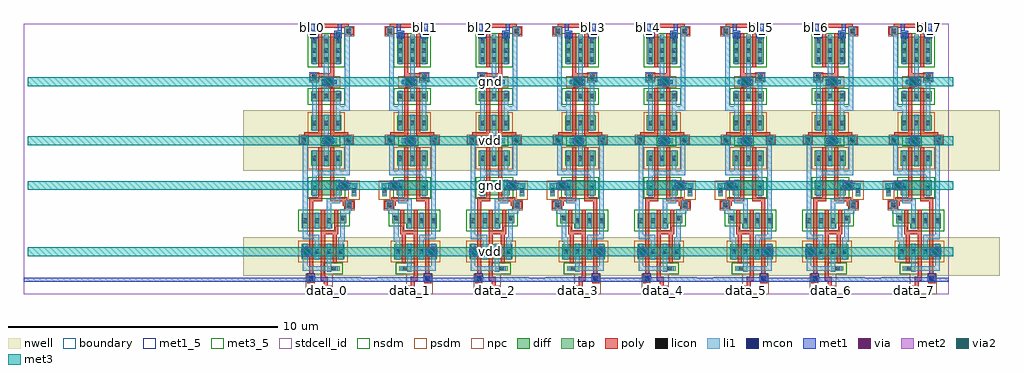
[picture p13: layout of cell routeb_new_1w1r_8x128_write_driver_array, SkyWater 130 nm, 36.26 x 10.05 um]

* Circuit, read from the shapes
.subckt routeb_new_1w1r_8x128_write_driver_array bl_0 bl_1 bl_2 bl_3 bl_4 bl_5 bl_6 bl_7 br_0 br_1 br_2 br_3 br_4 br_5 br_6 br_7 data_0 data_1 data_2 data_3 data_4 data_5 data_6 data_7 en gnd vdd
XM1 n1 en n2 gnd sky130_fd_pr__nfet_01v8 w=0.55 l=0.15
XM2 n3 en n4 gnd sky130_fd_pr__nfet_01v8 w=0.55 l=0.15
XM3 gnd n2 n5 gnd sky130_fd_pr__nfet_01v8 w=0.36 l=0.15
XM4 gnd n6 bl_0 gnd sky130_fd_pr__nfet_01v8 w=1 l=0.15
XM5 gnd data_0 n1 gnd sky130_fd_pr__nfet_01v8 w=0.55 l=0.15
XM6 gnd n7 n3 gnd sky130_fd_pr__nfet_01v8 w=0.55 l=0.15
XM7 n6 n4 gnd gnd sky130_fd_pr__nfet_01v8 w=0.36 l=0.15
XM8 br_0 n5 gnd gnd sky130_fd_pr__nfet_01v8 w=1 l=0.15
XM9 n7 data_0 gnd gnd sky130_fd_pr__nfet_01v8 w=0.36 l=0.15
XM10 gnd data_1 n8 gnd sky130_fd_pr__nfet_01v8 w=0.36 l=0.15
XM11 n9 n8 gnd gnd sky130_fd_pr__nfet_01v8 w=0.55 l=0.15
XM12 gnd n10 n11 gnd sky130_fd_pr__nfet_01v8 w=0.36 l=0.15
XM13 gnd n12 br_1 gnd sky130_fd_pr__nfet_01v8 w=1 l=0.15
XM14 n13 data_1 gnd gnd sky130_fd_pr__nfet_01v8 w=0.55 l=0.15
XM15 n10 en n9 gnd sky130_fd_pr__nfet_01v8 w=0.55 l=0.15
XM16 n12 n14 gnd gnd sky130_fd_pr__nfet_01v8 w=0.36 l=0.15
XM17 bl_1 n11 gnd gnd sky130_fd_pr__nfet_01v8 w=1 l=0.15
XM18 n14 en n13 gnd sky130_fd_pr__nfet_01v8 w=0.55 l=0.15
XM19 n15 en n16 gnd sky130_fd_pr__nfet_01v8 w=0.55 l=0.15
XM20 n17 en n18 gnd sky130_fd_pr__nfet_01v8 w=0.55 l=0.15
XM21 gnd n16 n19 gnd sky130_fd_pr__nfet_01v8 w=0.36 l=0.15
XM22 gnd n20 bl_2 gnd sky130_fd_pr__nfet_01v8 w=1 l=0.15
XM23 gnd data_2 n15 gnd sky130_fd_pr__nfet_01v8 w=0.55 l=0.15
XM24 gnd n21 n17 gnd sky130_fd_pr__nfet_01v8 w=0.55 l=0.15
XM25 n20 n18 gnd gnd sky130_fd_pr__nfet_01v8 w=0.36 l=0.15
XM26 br_2 n19 gnd gnd sky130_fd_pr__nfet_01v8 w=1 l=0.15
XM27 n21 data_2 gnd gnd sky130_fd_pr__nfet_01v8 w=0.36 l=0.15
XM28 gnd data_3 n22 gnd sky130_fd_pr__nfet_01v8 w=0.36 l=0.15
XM29 n23 n22 gnd gnd sky130_fd_pr__nfet_01v8 w=0.55 l=0.15
XM30 gnd n24 n25 gnd sky130_fd_pr__nfet_01v8 w=0.36 l=0.15
XM31 gnd n26 br_3 gnd sky130_fd_pr__nfet_01v8 w=1 l=0.15
XM32 n27 data_3 gnd gnd sky130_fd_pr__nfet_01v8 w=0.55 l=0.15
XM33 n24 en n23 gnd sky130_fd_pr__nfet_01v8 w=0.55 l=0.15
XM34 n26 n28 gnd gnd sky130_fd_pr__nfet_01v8 w=0.36 l=0.15
XM35 bl_3 n25 gnd gnd sky130_fd_pr__nfet_01v8 w=1 l=0.15
XM36 n28 en n27 gnd sky130_fd_pr__nfet_01v8 w=0.55 l=0.15
XM37 n29 en n30 gnd sky130_fd_pr__nfet_01v8 w=0.55 l=0.15
XM38 n31 en n32 gnd sky130_fd_pr__nfet_01v8 w=0.55 l=0.15
XM39 gnd n30 n33 gnd sky130_fd_pr__nfet_01v8 w=0.36 l=0.15
XM40 gnd n34 bl_4 gnd sky130_fd_pr__nfet_01v8 w=1 l=0.15
XM41 gnd data_4 n29 gnd sky130_fd_pr__nfet_01v8 w=0.55 l=0.15
XM42 gnd n35 n31 gnd sky130_fd_pr__nfet_01v8 w=0.55 l=0.15
XM43 n34 n32 gnd gnd sky130_fd_pr__nfet_01v8 w=0.36 l=0.15
XM44 br_4 n33 gnd gnd sky130_fd_pr__nfet_01v8 w=1 l=0.15
XM45 n35 data_4 gnd gnd sky130_fd_pr__nfet_01v8 w=0.36 l=0.15
XM46 gnd data_5 n36 gnd sky130_fd_pr__nfet_01v8 w=0.36 l=0.15
XM47 n37 n36 gnd gnd sky130_fd_pr__nfet_01v8 w=0.55 l=0.15
XM48 gnd n38 n39 gnd sky130_fd_pr__nfet_01v8 w=0.36 l=0.15
XM49 gnd n40 br_5 gnd sky130_fd_pr__nfet_01v8 w=1 l=0.15
XM50 n41 data_5 gnd gnd sky130_fd_pr__nfet_01v8 w=0.55 l=0.15
XM51 n38 en n37 gnd sky130_fd_pr__nfet_01v8 w=0.55 l=0.15
XM52 n40 n42 gnd gnd sky130_fd_pr__nfet_01v8 w=0.36 l=0.15
XM53 bl_5 n39 gnd gnd sky130_fd_pr__nfet_01v8 w=1 l=0.15
XM54 n42 en n41 gnd sky130_fd_pr__nfet_01v8 w=0.55 l=0.15
XM55 n43 en n44 gnd sky130_fd_pr__nfet_01v8 w=0.55 l=0.15
XM56 n45 en n46 gnd sky130_fd_pr__nfet_01v8 w=0.55 l=0.15
XM57 gnd n44 n47 gnd sky130_fd_pr__nfet_01v8 w=0.36 l=0.15
XM58 gnd n48 bl_6 gnd sky130_fd_pr__nfet_01v8 w=1 l=0.15
XM59 gnd data_6 n43 gnd sky130_fd_pr__nfet_01v8 w=0.55 l=0.15
XM60 gnd n49 n45 gnd sky130_fd_pr__nfet_01v8 w=0.55 l=0.15
XM61 n48 n46 gnd gnd sky130_fd_pr__nfet_01v8 w=0.36 l=0.15
XM62 br_6 n47 gnd gnd sky130_fd_pr__nfet_01v8 w=1 l=0.15
XM63 n49 data_6 gnd gnd sky130_fd_pr__nfet_01v8 w=0.36 l=0.15
XM64 gnd data_7 n50 gnd sky130_fd_pr__nfet_01v8 w=0.36 l=0.15
XM65 n51 n50 gnd gnd sky130_fd_pr__nfet_01v8 w=0.55 l=0.15
XM66 gnd n52 n53 gnd sky130_fd_pr__nfet_01v8 w=0.36 l=0.15
XM67 gnd n54 br_7 gnd sky130_fd_pr__nfet_01v8 w=1 l=0.15
XM68 n55 data_7 gnd gnd sky130_fd_pr__nfet_01v8 w=0.55 l=0.15
XM69 n52 en n51 gnd sky130_fd_pr__nfet_01v8 w=0.55 l=0.15
XM70 n54 n56 gnd gnd sky130_fd_pr__nfet_01v8 w=0.36 l=0.15
XM71 bl_7 n53 gnd gnd sky130_fd_pr__nfet_01v8 w=1 l=0.15
XM72 n56 en n55 gnd sky130_fd_pr__nfet_01v8 w=0.55 l=0.15
XM73 n2 en vdd vdd sky130_fd_pr__pfet_01v8 w=0.55 l=0.15
XM74 vdd en n4 vdd sky130_fd_pr__pfet_01v8 w=0.55 l=0.15
XM75 vdd n2 n5 vdd sky130_fd_pr__pfet_01v8 w=0.55 l=0.15
XM76 vdd data_0 n2 vdd sky130_fd_pr__pfet_01v8 w=0.55 l=0.15
XM77 n4 n7 vdd vdd sky130_fd_pr__pfet_01v8 w=0.55 l=0.15
XM78 n6 n4 vdd vdd sky130_fd_pr__pfet_01v8 w=0.55 l=0.15
XM79 n7 data_0 vdd vdd sky130_fd_pr__pfet_01v8 w=0.55 l=0.15
XM80 vdd data_1 n8 vdd sky130_fd_pr__pfet_01v8 w=0.55 l=0.15
XM81 vdd n8 n10 vdd sky130_fd_pr__pfet_01v8 w=0.55 l=0.15
XM82 vdd n10 n11 vdd sky130_fd_pr__pfet_01v8 w=0.55 l=0.15
XM83 n14 data_1 vdd vdd sky130_fd_pr__pfet_01v8 w=0.55 l=0.15
XM84 n10 en vdd vdd sky130_fd_pr__pfet_01v8 w=0.55 l=0.15
XM85 n12 n14 vdd vdd sky130_fd_pr__pfet_01v8 w=0.55 l=0.15
XM86 vdd en n14 vdd sky130_fd_pr__pfet_01v8 w=0.55 l=0.15
XM87 n16 en vdd vdd sky130_fd_pr__pfet_01v8 w=0.55 l=0.15
XM88 vdd en n18 vdd sky130_fd_pr__pfet_01v8 w=0.55 l=0.15
XM89 vdd n16 n19 vdd sky130_fd_pr__pfet_01v8 w=0.55 l=0.15
XM90 vdd data_2 n16 vdd sky130_fd_pr__pfet_01v8 w=0.55 l=0.15
XM91 n18 n21 vdd vdd sky130_fd_pr__pfet_01v8 w=0.55 l=0.15
XM92 n20 n18 vdd vdd sky130_fd_pr__pfet_01v8 w=0.55 l=0.15
XM93 n21 data_2 vdd vdd sky130_fd_pr__pfet_01v8 w=0.55 l=0.15
XM94 vdd data_3 n22 vdd sky130_fd_pr__pfet_01v8 w=0.55 l=0.15
XM95 vdd n22 n24 vdd sky130_fd_pr__pfet_01v8 w=0.55 l=0.15
XM96 vdd n24 n25 vdd sky130_fd_pr__pfet_01v8 w=0.55 l=0.15
XM97 n28 data_3 vdd vdd sky130_fd_pr__pfet_01v8 w=0.55 l=0.15
XM98 n24 en vdd vdd sky130_fd_pr__pfet_01v8 w=0.55 l=0.15
XM99 n26 n28 vdd vdd sky130_fd_pr__pfet_01v8 w=0.55 l=0.15
XM100 vdd en n28 vdd sky130_fd_pr__pfet_01v8 w=0.55 l=0.15
XM101 n30 en vdd vdd sky130_fd_pr__pfet_01v8 w=0.55 l=0.15
XM102 vdd en n32 vdd sky130_fd_pr__pfet_01v8 w=0.55 l=0.15
XM103 vdd n30 n33 vdd sky130_fd_pr__pfet_01v8 w=0.55 l=0.15
XM104 vdd data_4 n30 vdd sky130_fd_pr__pfet_01v8 w=0.55 l=0.15
XM105 n32 n35 vdd vdd sky130_fd_pr__pfet_01v8 w=0.55 l=0.15
XM106 n34 n32 vdd vdd sky130_fd_pr__pfet_01v8 w=0.55 l=0.15
XM107 n35 data_4 vdd vdd sky130_fd_pr__pfet_01v8 w=0.55 l=0.15
XM108 vdd data_5 n36 vdd sky130_fd_pr__pfet_01v8 w=0.55 l=0.15
XM109 vdd n36 n38 vdd sky130_fd_pr__pfet_01v8 w=0.55 l=0.15
XM110 vdd n38 n39 vdd sky130_fd_pr__pfet_01v8 w=0.55 l=0.15
XM111 n42 data_5 vdd vdd sky130_fd_pr__pfet_01v8 w=0.55 l=0.15
XM112 n38 en vdd vdd sky130_fd_pr__pfet_01v8 w=0.55 l=0.15
XM113 n40 n42 vdd vdd sky130_fd_pr__pfet_01v8 w=0.55 l=0.15
XM114 vdd en n42 vdd sky130_fd_pr__pfet_01v8 w=0.55 l=0.15
XM115 n44 en vdd vdd sky130_fd_pr__pfet_01v8 w=0.55 l=0.15
XM116 vdd en n46 vdd sky130_fd_pr__pfet_01v8 w=0.55 l=0.15
XM117 vdd n44 n47 vdd sky130_fd_pr__pfet_01v8 w=0.55 l=0.15
XM118 vdd data_6 n44 vdd sky130_fd_pr__pfet_01v8 w=0.55 l=0.15
XM119 n46 n49 vdd vdd sky130_fd_pr__pfet_01v8 w=0.55 l=0.15
XM120 n48 n46 vdd vdd sky130_fd_pr__pfet_01v8 w=0.55 l=0.15
XM121 n49 data_6 vdd vdd sky130_fd_pr__pfet_01v8 w=0.55 l=0.15
XM122 vdd data_7 n50 vdd sky130_fd_pr__pfet_01v8 w=0.55 l=0.15
XM123 vdd n50 n52 vdd sky130_fd_pr__pfet_01v8 w=0.55 l=0.15
XM124 vdd n52 n53 vdd sky130_fd_pr__pfet_01v8 w=0.55 l=0.15
XM125 n56 data_7 vdd vdd sky130_fd_pr__pfet_01v8 w=0.55 l=0.15
XM126 n52 en vdd vdd sky130_fd_pr__pfet_01v8 w=0.55 l=0.15
XM127 n54 n56 vdd vdd sky130_fd_pr__pfet_01v8 w=0.55 l=0.15
XM128 vdd en n56 vdd sky130_fd_pr__pfet_01v8 w=0.55 l=0.15
.ends

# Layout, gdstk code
from math import pi, radians
import gdstk
lib = gdstk.Library(unit=1e-6, precision=1e-09)
def R(c, l, rs):  # rectangles x0, y0, x1, y1
    for r in rs: c.add(gdstk.rectangle(r[:2], r[2:], *l))
def A(c, l, x, y, w, h, nx, ny, dx, dy):  # array of equal rectangles
    R(c, l, [(x+i*dx, y+j*dy, x+i*dx+w, y+j*dy+h) for i in range(nx) for j in range(ny)])
nwell = (64, 20)
diff = (65, 20)
tap = (65, 44)
poly = (66, 20)
licon = (66, 44)
li1 = (67, 20)
mcon = (67, 44)
met1_5 = (68, 5)
met1 = (68, 20)
via = (68, 44)
met2 = (69, 20)
via2 = (69, 44)
met3_5 = (70, 5)
met3 = (70, 20)
stdcell_id = (81, 4)
nsdm = (93, 44)
psdm = (94, 20)
npc = (95, 20)
boundary = (235, 4)

sky130_fd_bd_sram__openr = lib.new_cell('sky130_fd_bd_sram__openram_write_driver')
R(sky130_fd_bd_sram__openr, nwell, [(-1.88,0.69,4.4,2.12), (-1.88,4.6,4.4,6.83)])
R(sky130_fd_bd_sram__openr, diff, [(0.305,1.31,1.88,1.86), (0.305,2.46,1.435,2.65), (0.305,2.65,1.955,3.01), (0.645,3.68,1.795,4.23), (0.645,4.78,1.78,5.33), (0.645,6.095,1.775,6.645), (0.645,7.175,1.775,7.535), (0.645,8.565,1.775,9.565)])
R(sky130_fd_bd_sram__openr, tap, [(1.245,0.87,1.705,1.04), (2.155,3.64,2.325,4.1), (1.125,5.62,1.605,5.79), (1.145,7.805,1.605,7.975)])
R(sky130_fd_bd_sram__openr, poly, [(1.115,0.02,1.425,0.32), (1.115,0.32,1.275,0.5), (0.505,0.42,0.775,0.74), (1.015,0.5,1.275,0.65), (1.015,0.65,1.165,2.23), (0.505,0.74,0.725,0.75), (0.575,0.75,0.725,3.45), (1.455,1.18,1.605,2.23), (1.015,2.23,1.665,2.38), (1.015,2.38,1.165,3.14), (1.515,2.38,1.665,3.14), (1.875,3.18,2.245,3.3), (1.825,3.3,2.245,3.45), (0.575,3.45,1.065,3.6), (1.355,3.45,1.995,3.6), (0.915,3.6,1.065,5.46), (1.355,3.6,1.505,5.46), (0.205,5.6,0.54,5.87), (1.885,5.6,2.215,5.72), (1.88,5.72,2.215,5.87), (0.39,5.87,1.065,6.02), (1.355,5.87,2.03,6.02), (0.915,6.02,1.065,7.665), (1.355,6.02,1.505,7.665), (0.605,7.925,0.935,8.055), (0.605,8.055,1.505,8.205), (1.355,8.205,1.505,9.695), (0.915,8.435,1.065,9.905), (1.895,9.645,2.225,9.905), (0.915,9.905,2.225,9.915), (0.915,9.915,2.045,10.055)])
A(sky130_fd_bd_sram__openr, licon, 0.345, 1.5, 0.17, 0.17, 4, 1, 0.44, 0)
A(sky130_fd_bd_sram__openr, licon, 0.345, 2.65, 0.17, 0.17, 3, 1, 0.44, 0)
A(sky130_fd_bd_sram__openr, licon, 0.685, 4.97, 0.17, 0.17, 3, 2, 0.44, 1.315)
A(sky130_fd_bd_sram__openr, licon, 0.685, 7.275, 0.17, 0.17, 3, 2, 0.44, 1.365)
A(sky130_fd_bd_sram__openr, licon, 0.685, 8.98, 0.17, 0.17, 3, 2, 0.44, 0.34)
R(sky130_fd_bd_sram__openr, licon, [(1.175,0.1,1.345,0.27), (0.555,0.5,0.725,0.67), (1.395,0.87,1.565,1.04), (1.725,2.745,1.895,2.915), (1.995,3.23,2.165,3.4), (2.155,3.78,2.325,3.95), (0.685,3.87,0.855,4.04), (1.565,3.87,1.735,4.04), (1.295,5.62,1.465,5.79), (0.285,5.65,0.455,5.82), (1.965,5.65,2.135,5.82), (1.295,7.805,1.465,7.975), (0.685,7.985,0.855,8.155), (1.975,9.695,2.145,9.865)])
R(sky130_fd_bd_sram__openr, li1, [(1.095,0.1,1.425,0.27), (0.47,0.5,0.805,0.67), (1.225,0.84,1.395,0.87), (0.345,0.87,1.645,1.04), (0.345,1.04,0.515,1.88), (1.225,1.04,1.395,1.88), (0.785,1.29,0.955,2.05), (1.665,1.29,1.835,1.95), (1.665,1.95,1.895,2.12), (0.345,2.05,0.955,2.22), (1.725,2.12,1.895,2.89), (0.345,2.22,0.515,5.57), (0.785,2.44,0.955,3.03), (1.225,2.44,1.395,3.4), (1.725,2.89,1.955,2.99), (1.725,2.99,2.105,3.11), (1.725,3.11,2.165,3.16), (1.935,3.16,2.165,3.49), (1.225,3.375,1.735,3.545), (1.565,3.4,1.735,3.95), (0.685,3.65,0.855,4.42), (2.155,3.7,2.325,3.95), (1.565,3.95,2.355,4.12), (1.565,4.12,1.735,4.25), (0.685,4.42,2.075,4.59), (0.685,4.59,0.855,5.35), (1.565,4.59,1.735,5.35), (1.905,4.59,2.075,5.57), (1.125,4.76,1.295,5.62), (0.285,5.57,0.515,5.9), (1.905,5.57,2.135,5.9), (1.125,5.62,1.545,5.79), (1.125,5.79,1.295,6.665), (0.685,6.08,0.855,7.9), (1.565,6.08,1.735,6.825), (1.565,6.825,2.075,6.995), (1.565,6.995,1.735,7.565), (1.905,6.995,2.075,9.615), (1.125,7.165,1.295,7.805), (1.125,7.805,1.545,7.975), (0.585,7.9,0.855,8.235), (1.125,7.975,1.295,9.635), (0.685,8.545,0.855,9.735), (1.565,8.545,1.735,9.735), (1.905,9.615,2.145,9.945)])
R(sky130_fd_bd_sram__openr, mcon, [(1.175,0.1,1.345,0.27), (0.555,0.5,0.725,0.67), (0.345,1.5,0.515,1.67), (1.8,3.95,1.97,4.12), (1.125,5.62,1.295,5.79), (1.125,7.805,1.295,7.975), (0.685,9.565,0.855,9.735), (1.565,9.565,1.735,9.735)])
R(sky130_fd_bd_sram__openr, met1_5, [(1.115,0.02,1.415,0.3), (0.495,0.47,2.5,0.64), (0.285,1.47,0.715,1.7), (1.67,3.945,2.1,4.15), (1.065,5.59,1.495,5.82), (1.065,7.805,1.605,7.975), (0.63,9.795,0.78,10.055), (1.64,9.795,1.79,10.055)])
R(sky130_fd_bd_sram__openr, met1, [(1.115,0.02,1.415,0.3), (1.115,0.02,1.415,0.3), (0.495,0.47,2.5,0.64), (0.495,0.47,2.5,0.64), (0.495,0.64,0.785,0.78), (0.285,1.47,0.715,1.7), (0.285,1.47,0.715,1.7), (1.735,3.92,2.1,3.945), (1.67,3.945,2.1,4.15), (1.67,3.945,2.1,4.15), (1.065,5.59,1.495,5.82), (1.065,5.59,1.495,5.82), (1.065,7.775,1.495,7.805), (1.065,7.805,1.605,7.975), (1.065,7.805,1.605,7.975), (1.065,7.975,1.495,8.005), (0.625,9.505,0.91,9.795), (1.51,9.505,1.795,9.795), (0.63,9.795,0.78,10.055), (0.63,9.795,0.78,10.055), (1.64,9.795,1.79,10.055), (1.64,9.795,1.79,10.055)])
R(sky130_fd_bd_sram__openr, stdcell_id, [(0,0,2.5,10.055)])
R(sky130_fd_bd_sram__openr, nsdm, [(1.12,0.745,1.83,1.165), (0.18,2.335,1.56,2.525), (0.18,2.525,2.08,3.135), (0.52,3.555,1.92,4.355), (1,5.495,1.73,5.915), (0.52,7.05,1.9,7.66), (0.52,8.44,1.9,9.69)])
R(sky130_fd_bd_sram__openr, psdm, [(0.18,1.185,2.005,1.985), (2.03,3.515,2.45,4.225), (0.52,4.655,1.905,5.455), (0.52,5.97,1.9,6.77), (1.02,7.68,1.73,8.1)])
R(sky130_fd_bd_sram__openr, npc, [(0.455,0,1.445,0.77), (1.895,3.13,2.265,3.5), (0.185,5.55,0.555,5.92), (1.865,5.55,2.235,5.92), (0.585,7.885,0.955,8.255), (1.875,9.595,2.245,9.965)])
R(sky130_fd_bd_sram__openr, boundary, [(0,0,2.5,10.055)])
sky130_fd_bd_sram__openr.add(gdstk.Label('DIN', (1.265,0.06), layer=68, texttype=16))
sky130_fd_bd_sram__openr.add(gdstk.Label('VDD', (0.54,1.585), layer=68, texttype=16))
sky130_fd_bd_sram__openr.add(gdstk.Label('BL', (0.7,9.905), layer=68, texttype=16))
sky130_fd_bd_sram__openr.add(gdstk.Label('BR', (1.7,9.865), layer=68, texttype=16))
sky130_fd_bd_sram__openr.add(gdstk.Label('EN', (0.53,0.59), layer=68, texttype=16))
sky130_fd_bd_sram__openr.add(gdstk.Label('GND', (1.965,4.135), layer=68, texttype=16))
sky130_fd_bd_sram__openr.add(gdstk.Label('GND', (1.1,7.885), layer=68, texttype=16))
sky130_fd_bd_sram__openr.add(gdstk.Label('VDD', (1.1,5.7), layer=68, texttype=16))
sky130_fd_bd_sram__openr.add(gdstk.Label('din', (1.265,0.16), layer=68, texttype=5))
sky130_fd_bd_sram__openr.add(gdstk.Label('bl', (0.705,9.925), layer=68, texttype=5))
sky130_fd_bd_sram__openr.add(gdstk.Label('br', (1.715,9.925), layer=68, texttype=5))
sky130_fd_bd_sram__openr.add(gdstk.Label('en', (1.498,0.555), layer=68, texttype=5))
sky130_fd_bd_sram__openr.add(gdstk.Label('vdd', (0.5,1.585), layer=68, texttype=5))
sky130_fd_bd_sram__openr.add(gdstk.Label('vdd', (1.28,5.705), layer=68, texttype=5))
sky130_fd_bd_sram__openr.add(gdstk.Label('gnd', (1.885,4.048), layer=68, texttype=5))
sky130_fd_bd_sram__openr.add(gdstk.Label('gnd', (1.335,7.89), layer=68, texttype=5))

routeb_new_1w1r_8x128_co = lib.new_cell('routeb_new_1w1r_8x128_contact_18')
R(routeb_new_1w1r_8x128_co, met1, [(0,0.03,0.32,0.29)])
R(routeb_new_1w1r_8x128_co, via, [(0.085,0.085,0.235,0.235)])
R(routeb_new_1w1r_8x128_co, met2, [(0.03,0,0.29,0.32)])
R(routeb_new_1w1r_8x128_co, stdcell_id, [(0,0,0.32,0.32)])
R(routeb_new_1w1r_8x128_co, boundary, [(0,0,0.32,0.32)])

c_routeb_new_1w1r_8x128_co = lib.new_cell('routeb_new_1w1r_8x128_contact_21')
R(c_routeb_new_1w1r_8x128_co, met2, [(0.025,0,0.305,0.37)])
R(c_routeb_new_1w1r_8x128_co, via2, [(0.065,0.085,0.265,0.285)])
R(c_routeb_new_1w1r_8x128_co, met3, [(0,0.02,0.33,0.35)])
R(c_routeb_new_1w1r_8x128_co, stdcell_id, [(0,0,0.33,0.37)])
R(c_routeb_new_1w1r_8x128_co, boundary, [(0,0,0.33,0.37)])

routeb_new_1w1r_8x128_wr = lib.new_cell('routeb_new_1w1r_8x128_write_driver_array')
R(routeb_new_1w1r_8x128_wr, met1_5, [(11.15,0.02,11.45,0.3), (14.24,0.02,14.54,0.3), (17.39,0.02,17.69,0.3), (20.48,0.02,20.78,0.3), (23.63,0.02,23.93,0.3), (26.72,0.02,27.02,0.3), (29.87,0.02,30.17,0.3), (32.96,0.02,33.26,0.3), (0,0.47,34.375,0.61), (10.665,9.795,10.815,10.055), (11.675,9.795,11.825,10.055), (13.865,9.795,14.015,10.055), (14.875,9.795,15.025,10.055), (16.905,9.795,17.055,10.055), (17.915,9.795,18.065,10.055), (20.105,9.795,20.255,10.055), (21.115,9.795,21.265,10.055), (23.145,9.795,23.295,10.055), (24.155,9.795,24.305,10.055), (26.345,9.795,26.495,10.055), (27.355,9.795,27.505,10.055), (29.385,9.795,29.535,10.055), (30.395,9.795,30.545,10.055), (32.585,9.795,32.735,10.055), (33.595,9.795,33.745,10.055)])
R(routeb_new_1w1r_8x128_wr, met1, [(11.15,0.02,11.45,0.3), (14.24,0.02,14.54,0.3), (17.39,0.02,17.69,0.3), (20.48,0.02,20.78,0.3), (23.63,0.02,23.93,0.3), (26.72,0.02,27.02,0.3), (29.87,0.02,30.17,0.3), (32.96,0.02,33.26,0.3), (0,0.47,34.375,0.61), (10.375,1.455,10.695,1.715), (14.995,1.455,15.315,1.715), (16.615,1.455,16.935,1.715), (21.235,1.455,21.555,1.715), (22.855,1.455,23.175,1.715), (27.475,1.455,27.795,1.715), (29.095,1.455,29.415,1.715), (33.715,1.455,34.035,1.715), (11.76,3.92,12.08,4.18), (13.61,3.92,13.93,4.18), (18,3.92,18.32,4.18), (19.85,3.92,20.17,4.18), (24.24,3.92,24.56,4.18), (26.09,3.92,26.41,4.18), (30.48,3.92,30.8,4.18), (32.33,3.92,32.65,4.18), (11.155,5.575,11.475,5.835), (14.215,5.575,14.535,5.835), (17.395,5.575,17.715,5.835), (20.455,5.575,20.775,5.835), (23.635,5.575,23.955,5.835), (26.695,5.575,27.015,5.835), (29.875,5.575,30.195,5.835), (32.935,5.575,33.255,5.835), (11.21,7.76,11.53,8.02), (14.16,7.76,14.48,8.02), (17.45,7.76,17.77,8.02), (20.4,7.76,20.72,8.02), (23.69,7.76,24.01,8.02), (26.64,7.76,26.96,8.02), (29.93,7.76,30.25,8.02), (32.88,7.76,33.2,8.02), (10.665,9.795,10.815,10.055), (11.675,9.795,11.825,10.055), (13.865,9.795,14.015,10.055), (14.875,9.795,15.025,10.055), (16.905,9.795,17.055,10.055), (17.915,9.795,18.065,10.055), (20.105,9.795,20.255,10.055), (21.115,9.795,21.265,10.055), (23.145,9.795,23.295,10.055), (24.155,9.795,24.305,10.055), (26.345,9.795,26.495,10.055), (27.355,9.795,27.505,10.055), (29.385,9.795,29.535,10.055), (30.395,9.795,30.545,10.055), (32.585,9.795,32.735,10.055), (33.595,9.795,33.745,10.055)])
R(routeb_new_1w1r_8x128_wr, met2, [(10.395,1.46,10.675,1.705), (15.015,1.46,15.295,1.705), (16.635,1.46,16.915,1.705), (21.255,1.46,21.535,1.705), (22.875,1.46,23.155,1.705), (27.495,1.46,27.775,1.705), (29.115,1.46,29.395,1.705), (33.735,1.46,34.015,1.705), (11.78,3.925,12.06,4.17), (13.63,3.925,13.91,4.17), (18.02,3.925,18.3,4.17), (19.87,3.925,20.15,4.17), (24.26,3.925,24.54,4.17), (26.11,3.925,26.39,4.17), (30.5,3.925,30.78,4.17), (32.35,3.925,32.63,4.17), (11.175,5.58,11.455,5.825), (14.235,5.58,14.515,5.825), (17.415,5.58,17.695,5.825), (20.475,5.58,20.755,5.825), (23.655,5.58,23.935,5.825), (26.715,5.58,26.995,5.825), (29.895,5.58,30.175,5.825), (32.955,5.58,33.235,5.825), (11.23,7.77,11.51,8.015), (14.18,7.77,14.46,8.015), (17.47,7.77,17.75,8.015), (20.42,7.77,20.7,8.015), (23.71,7.77,23.99,8.015), (26.66,7.77,26.94,8.015), (29.95,7.77,30.23,8.015), (32.9,7.77,33.18,8.015)])
R(routeb_new_1w1r_8x128_wr, met3_5, [(0.165,1.42,34.54,1.75), (0.165,3.88,34.54,4.21), (0.165,5.54,34.54,5.87), (0.165,7.725,34.54,8.055)])
R(routeb_new_1w1r_8x128_wr, met3, [(0.165,1.42,34.54,1.75), (0.165,3.88,34.54,4.21), (0.165,5.54,34.54,5.87), (0.165,7.725,34.54,8.055)])
R(routeb_new_1w1r_8x128_wr, stdcell_id, [(0,0,34.375,10.055)])
R(routeb_new_1w1r_8x128_wr, boundary, [(0,0,34.375,10.055)])
routeb_new_1w1r_8x128_wr.add(gdstk.Reference(sky130_fd_bd_sram__openr, (10.035,0)))
routeb_new_1w1r_8x128_wr.add(gdstk.Reference(sky130_fd_bd_sram__openr, (15.655,0), rotation=pi, x_reflection=True))
routeb_new_1w1r_8x128_wr.add(gdstk.Reference(sky130_fd_bd_sram__openr, (16.275,0)))
routeb_new_1w1r_8x128_wr.add(gdstk.Reference(sky130_fd_bd_sram__openr, (21.895,0), rotation=pi, x_reflection=True))
routeb_new_1w1r_8x128_wr.add(gdstk.Reference(sky130_fd_bd_sram__openr, (22.515,0)))
routeb_new_1w1r_8x128_wr.add(gdstk.Reference(sky130_fd_bd_sram__openr, (28.135,0), rotation=pi, x_reflection=True))
routeb_new_1w1r_8x128_wr.add(gdstk.Reference(sky130_fd_bd_sram__openr, (28.755,0)))
routeb_new_1w1r_8x128_wr.add(gdstk.Reference(sky130_fd_bd_sram__openr, (34.375,0), rotation=pi, x_reflection=True))
routeb_new_1w1r_8x128_wr.add(gdstk.Reference(routeb_new_1w1r_8x128_co, (10.375,1.425)))
routeb_new_1w1r_8x128_wr.add(gdstk.Reference(c_routeb_new_1w1r_8x128_co, (10.37,1.4)))
routeb_new_1w1r_8x128_wr.add(gdstk.Reference(routeb_new_1w1r_8x128_co, (14.995,1.425)))
routeb_new_1w1r_8x128_wr.add(gdstk.Reference(c_routeb_new_1w1r_8x128_co, (14.99,1.4)))
routeb_new_1w1r_8x128_wr.add(gdstk.Reference(routeb_new_1w1r_8x128_co, (16.615,1.425)))
routeb_new_1w1r_8x128_wr.add(gdstk.Reference(c_routeb_new_1w1r_8x128_co, (16.61,1.4)))
routeb_new_1w1r_8x128_wr.add(gdstk.Reference(routeb_new_1w1r_8x128_co, (21.235,1.425)))
routeb_new_1w1r_8x128_wr.add(gdstk.Reference(c_routeb_new_1w1r_8x128_co, (21.23,1.4)))
routeb_new_1w1r_8x128_wr.add(gdstk.Reference(routeb_new_1w1r_8x128_co, (22.855,1.425)))
routeb_new_1w1r_8x128_wr.add(gdstk.Reference(c_routeb_new_1w1r_8x128_co, (22.85,1.4)))
routeb_new_1w1r_8x128_wr.add(gdstk.Reference(routeb_new_1w1r_8x128_co, (27.475,1.425)))
routeb_new_1w1r_8x128_wr.add(gdstk.Reference(c_routeb_new_1w1r_8x128_co, (27.47,1.4)))
routeb_new_1w1r_8x128_wr.add(gdstk.Reference(routeb_new_1w1r_8x128_co, (29.095,1.425)))
routeb_new_1w1r_8x128_wr.add(gdstk.Reference(c_routeb_new_1w1r_8x128_co, (29.09,1.4)))
routeb_new_1w1r_8x128_wr.add(gdstk.Reference(routeb_new_1w1r_8x128_co, (33.715,1.425)))
routeb_new_1w1r_8x128_wr.add(gdstk.Reference(c_routeb_new_1w1r_8x128_co, (33.71,1.4)))
routeb_new_1w1r_8x128_wr.add(gdstk.Reference(routeb_new_1w1r_8x128_co, (11.155,5.545)))
routeb_new_1w1r_8x128_wr.add(gdstk.Reference(c_routeb_new_1w1r_8x128_co, (11.15,5.52)))
routeb_new_1w1r_8x128_wr.add(gdstk.Reference(routeb_new_1w1r_8x128_co, (14.215,5.545)))
routeb_new_1w1r_8x128_wr.add(gdstk.Reference(c_routeb_new_1w1r_8x128_co, (14.21,5.52)))
routeb_new_1w1r_8x128_wr.add(gdstk.Reference(routeb_new_1w1r_8x128_co, (17.395,5.545)))
routeb_new_1w1r_8x128_wr.add(gdstk.Reference(c_routeb_new_1w1r_8x128_co, (17.39,5.52)))
routeb_new_1w1r_8x128_wr.add(gdstk.Reference(routeb_new_1w1r_8x128_co, (20.455,5.545)))
routeb_new_1w1r_8x128_wr.add(gdstk.Reference(c_routeb_new_1w1r_8x128_co, (20.45,5.52)))
routeb_new_1w1r_8x128_wr.add(gdstk.Reference(routeb_new_1w1r_8x128_co, (23.635,5.545)))
routeb_new_1w1r_8x128_wr.add(gdstk.Reference(c_routeb_new_1w1r_8x128_co, (23.63,5.52)))
routeb_new_1w1r_8x128_wr.add(gdstk.Reference(routeb_new_1w1r_8x128_co, (26.695,5.545)))
routeb_new_1w1r_8x128_wr.add(gdstk.Reference(c_routeb_new_1w1r_8x128_co, (26.69,5.52)))
routeb_new_1w1r_8x128_wr.add(gdstk.Reference(routeb_new_1w1r_8x128_co, (29.875,5.545)))
routeb_new_1w1r_8x128_wr.add(gdstk.Reference(c_routeb_new_1w1r_8x128_co, (29.87,5.52)))
routeb_new_1w1r_8x128_wr.add(gdstk.Reference(routeb_new_1w1r_8x128_co, (32.935,5.545)))
routeb_new_1w1r_8x128_wr.add(gdstk.Reference(c_routeb_new_1w1r_8x128_co, (32.93,5.52)))
routeb_new_1w1r_8x128_wr.add(gdstk.Reference(routeb_new_1w1r_8x128_co, (11.76,3.89)))
routeb_new_1w1r_8x128_wr.add(gdstk.Reference(c_routeb_new_1w1r_8x128_co, (11.755,3.86)))
routeb_new_1w1r_8x128_wr.add(gdstk.Reference(routeb_new_1w1r_8x128_co, (13.61,3.89)))
routeb_new_1w1r_8x128_wr.add(gdstk.Reference(c_routeb_new_1w1r_8x128_co, (13.605,3.86)))
routeb_new_1w1r_8x128_wr.add(gdstk.Reference(routeb_new_1w1r_8x128_co, (18,3.89)))
routeb_new_1w1r_8x128_wr.add(gdstk.Reference(c_routeb_new_1w1r_8x128_co, (17.995,3.86)))
routeb_new_1w1r_8x128_wr.add(gdstk.Reference(routeb_new_1w1r_8x128_co, (19.85,3.89)))
routeb_new_1w1r_8x128_wr.add(gdstk.Reference(c_routeb_new_1w1r_8x128_co, (19.845,3.86)))
routeb_new_1w1r_8x128_wr.add(gdstk.Reference(routeb_new_1w1r_8x128_co, (24.24,3.89)))
routeb_new_1w1r_8x128_wr.add(gdstk.Reference(c_routeb_new_1w1r_8x128_co, (24.235,3.86)))
routeb_new_1w1r_8x128_wr.add(gdstk.Reference(routeb_new_1w1r_8x128_co, (26.09,3.89)))
routeb_new_1w1r_8x128_wr.add(gdstk.Reference(c_routeb_new_1w1r_8x128_co, (26.085,3.86)))
routeb_new_1w1r_8x128_wr.add(gdstk.Reference(routeb_new_1w1r_8x128_co, (30.48,3.89)))
routeb_new_1w1r_8x128_wr.add(gdstk.Reference(c_routeb_new_1w1r_8x128_co, (30.475,3.86)))
routeb_new_1w1r_8x128_wr.add(gdstk.Reference(routeb_new_1w1r_8x128_co, (32.33,3.89)))
routeb_new_1w1r_8x128_wr.add(gdstk.Reference(c_routeb_new_1w1r_8x128_co, (32.325,3.86)))
routeb_new_1w1r_8x128_wr.add(gdstk.Reference(routeb_new_1w1r_8x128_co, (11.21,7.73)))
routeb_new_1w1r_8x128_wr.add(gdstk.Reference(c_routeb_new_1w1r_8x128_co, (11.205,7.705)))
routeb_new_1w1r_8x128_wr.add(gdstk.Reference(routeb_new_1w1r_8x128_co, (14.16,7.73)))
routeb_new_1w1r_8x128_wr.add(gdstk.Reference(c_routeb_new_1w1r_8x128_co, (14.155,7.705)))
routeb_new_1w1r_8x128_wr.add(gdstk.Reference(routeb_new_1w1r_8x128_co, (17.45,7.73)))
routeb_new_1w1r_8x128_wr.add(gdstk.Reference(c_routeb_new_1w1r_8x128_co, (17.445,7.705)))
routeb_new_1w1r_8x128_wr.add(gdstk.Reference(routeb_new_1w1r_8x128_co, (20.4,7.73)))
routeb_new_1w1r_8x128_wr.add(gdstk.Reference(c_routeb_new_1w1r_8x128_co, (20.395,7.705)))
routeb_new_1w1r_8x128_wr.add(gdstk.Reference(routeb_new_1w1r_8x128_co, (23.69,7.73)))
routeb_new_1w1r_8x128_wr.add(gdstk.Reference(c_routeb_new_1w1r_8x128_co, (23.685,7.705)))
routeb_new_1w1r_8x128_wr.add(gdstk.Reference(routeb_new_1w1r_8x128_co, (26.64,7.73)))
routeb_new_1w1r_8x128_wr.add(gdstk.Reference(c_routeb_new_1w1r_8x128_co, (26.635,7.705)))
routeb_new_1w1r_8x128_wr.add(gdstk.Reference(routeb_new_1w1r_8x128_co, (29.93,7.73)))
routeb_new_1w1r_8x128_wr.add(gdstk.Reference(c_routeb_new_1w1r_8x128_co, (29.925,7.705)))
routeb_new_1w1r_8x128_wr.add(gdstk.Reference(routeb_new_1w1r_8x128_co, (32.88,7.73)))
routeb_new_1w1r_8x128_wr.add(gdstk.Reference(c_routeb_new_1w1r_8x128_co, (32.875,7.705)))
routeb_new_1w1r_8x128_wr.add(gdstk.Label('data_0', (11.3,0.16), layer=68, texttype=5))
routeb_new_1w1r_8x128_wr.add(gdstk.Label('bl_0', (10.74,9.925), layer=68, texttype=5))
routeb_new_1w1r_8x128_wr.add(gdstk.Label('br_0', (11.75,9.925), layer=68, texttype=5))
routeb_new_1w1r_8x128_wr.add(gdstk.Label('data_1', (14.39,0.16), layer=68, texttype=5))
routeb_new_1w1r_8x128_wr.add(gdstk.Label('bl_1', (14.95,9.925), layer=68, texttype=5))
routeb_new_1w1r_8x128_wr.add(gdstk.Label('br_1', (13.94,9.925), layer=68, texttype=5))
routeb_new_1w1r_8x128_wr.add(gdstk.Label('data_2', (17.54,0.16), layer=68, texttype=5))
routeb_new_1w1r_8x128_wr.add(gdstk.Label('bl_2', (16.98,9.925), layer=68, texttype=5))
routeb_new_1w1r_8x128_wr.add(gdstk.Label('br_2', (17.99,9.925), layer=68, texttype=5))
routeb_new_1w1r_8x128_wr.add(gdstk.Label('data_3', (20.63,0.16), layer=68, texttype=5))
routeb_new_1w1r_8x128_wr.add(gdstk.Label('bl_3', (21.19,9.925), layer=68, texttype=5))
routeb_new_1w1r_8x128_wr.add(gdstk.Label('br_3', (20.18,9.925), layer=68, texttype=5))
routeb_new_1w1r_8x128_wr.add(gdstk.Label('data_4', (23.78,0.16), layer=68, texttype=5))
routeb_new_1w1r_8x128_wr.add(gdstk.Label('bl_4', (23.22,9.925), layer=68, texttype=5))
routeb_new_1w1r_8x128_wr.add(gdstk.Label('br_4', (24.23,9.925), layer=68, texttype=5))
routeb_new_1w1r_8x128_wr.add(gdstk.Label('data_5', (26.87,0.16), layer=68, texttype=5))
routeb_new_1w1r_8x128_wr.add(gdstk.Label('bl_5', (27.43,9.925), layer=68, texttype=5))
routeb_new_1w1r_8x128_wr.add(gdstk.Label('br_5', (26.42,9.925), layer=68, texttype=5))
routeb_new_1w1r_8x128_wr.add(gdstk.Label('data_6', (30.02,0.16), layer=68, texttype=5))
routeb_new_1w1r_8x128_wr.add(gdstk.Label('bl_6', (29.46,9.925), layer=68, texttype=5))
routeb_new_1w1r_8x128_wr.add(gdstk.Label('br_6', (30.47,9.925), layer=68, texttype=5))
routeb_new_1w1r_8x128_wr.add(gdstk.Label('data_7', (33.11,0.16), layer=68, texttype=5))
routeb_new_1w1r_8x128_wr.add(gdstk.Label('bl_7', (33.67,9.925), layer=68, texttype=5))
routeb_new_1w1r_8x128_wr.add(gdstk.Label('br_7', (32.66,9.925), layer=68, texttype=5))
routeb_new_1w1r_8x128_wr.add(gdstk.Label('en', (17.188,0.54), layer=68, texttype=5))
routeb_new_1w1r_8x128_wr.add(gdstk.Label('vdd', (17.352,5.705), layer=70, texttype=5))
routeb_new_1w1r_8x128_wr.add(gdstk.Label('vdd', (17.352,1.585), layer=70, texttype=5))
routeb_new_1w1r_8x128_wr.add(gdstk.Label('gnd', (17.352,7.89), layer=70, texttype=5))
routeb_new_1w1r_8x128_wr.add(gdstk.Label('gnd', (17.352,4.045), layer=70, texttype=5))

lib.write_gds('routeb_new_1w1r_8x128_write_driver_array.gds')
